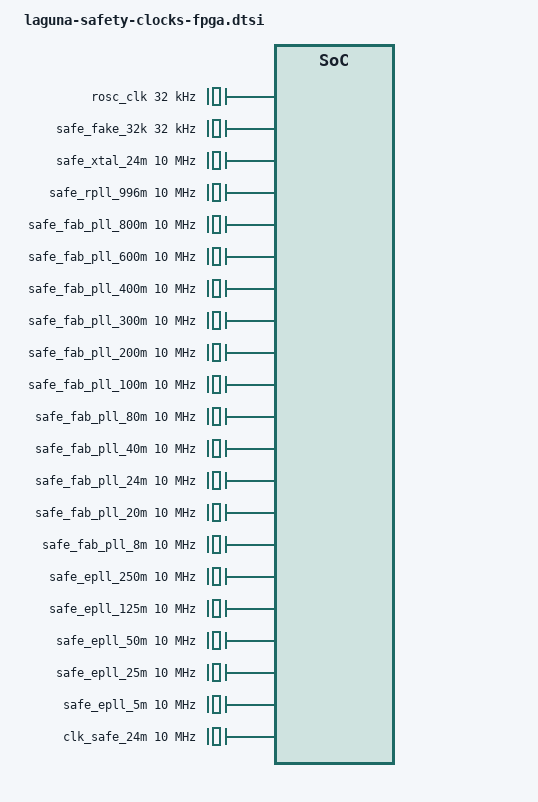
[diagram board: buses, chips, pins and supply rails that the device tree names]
/* SPDX-License-Identifier: GPL-2.0+
 *
 * Device Tree Source for Laguna safety domain FPGA clock tree
 *
 * Copyright (C) 2024 Charleye <wangkart@aliyun.com>
 */

/ {
	safety_clocks {
		compatible = "simple-bus";
		#address-cells = <2>;
		#size-cells = <2>;

		rosc_clk: rosc_clk {
			compatible = "fixed-clock";
			#clock-cells = <0>;
			clock-frequency = <32000>;
			clock-output-names = "rosc_clk";
		};

		safe_fake_32k: safe_fake_32k {
			compatible = "fixed-clock";
			#clock-cells = <0>;
			clock-frequency = <32000>;
			clock-output-names = "safe_fake_32k";
		};

		safe_xtal_24m: safe_xtal_24m {
			compatible = "fixed-clock";
			#clock-cells = <0>;
			clock-frequency = <10000000>;
			clock-output-names = "safe_xtal_24m";
		};

		safe_rpll_996m: safe_rpll_996m{
			compatible = "fixed-clock";
			#clock-cells = <0>;
			clock-frequency = <10000000>;
			clock-output-names = "safe_rpll_996m";
		};

		safe_fab_pll_800m: safe_fab_pll_800m {
			compatible = "fixed-clock";
			#clock-cells = <0>;
			clock-frequency = <10000000>;
			clock-output-names = "safe_fab_pll_800m";
		};

		safe_fab_pll_600m: safe_fab_pll_600m {
			compatible = "fixed-clock";
			#clock-cells = <0>;
			clock-frequency = <10000000>;
			clock-output-names = "safe_fab_pll_600m";
		};

		safe_fab_pll_400m: safe_fab_pll_400m {
			compatible = "fixed-clock";
			#clock-cells = <0>;
			clock-frequency = <10000000>;
			clock-output-names = "safe_fab_pll_400m";
		};

		safe_fab_pll_300m: safe_fab_pll_300m {
			compatible = "fixed-clock";
			#clock-cells = <0>;
			clock-frequency = <10000000>;
			clock-output-names = "safe_fab_pll_300m";
		};

		safe_fab_pll_200m: safe_fab_pll_200m {
			compatible = "fixed-clock";
			#clock-cells = <0>;
			clock-frequency = <10000000>;
			clock-output-names = "safe_fab_pll_200m";
		};

		safe_fab_pll_100m: safe_fab_pll_100m {
			compatible = "fixed-clock";
			#clock-cells = <0>;
			clock-frequency = <10000000>;
			clock-output-names = "safe_fab_pll_100m";
		};

		safe_fab_pll_80m: safe_fab_pll_80m {
			compatible = "fixed-clock";
			#clock-cells = <0>;
			clock-frequency = <10000000>;
			clock-output-names = "safe_fab_pll_80m";
		};

		safe_fab_pll_40m: safe_fab_pll_40m {
			compatible = "fixed-clock";
			#clock-cells = <0>;
			clock-frequency = <10000000>;
			clock-output-names = "safe_fab_pll_40m";
		};

		safe_fab_pll_24m: safe_fab_pll_24m {
			compatible = "fixed-clock";
			#clock-cells = <0>;
			clock-frequency = <10000000>;
			clock-output-names = "safe_fab_pll_24m";
		};

		safe_fab_pll_20m: safe_fab_pll_20m {
			compatible = "fixed-clock";
			#clock-cells = <0>;
			clock-frequency = <10000000>;
			clock-output-names = "safe_fab_pll_20m";
		};

		safe_fab_pll_8m: safe_fab_pll_8m {
			compatible = "fixed-clock";
			#clock-cells = <0>;
			clock-frequency = <10000000>;
			clock-output-names = "safe_fab_pll_8m";
		};

		safe_epll_250m: safe_epll_250m {
			compatible = "fixed-clock";
			#clock-cells = <0>;
			clock-frequency = <10000000>;
			clock-output-names = "safe_epll_250m";
		};

		safe_epll_125m: safe_epll_125m {
			compatible = "fixed-clock";
			#clock-cells = <0>;
			clock-frequency = <10000000>;
			clock-output-names = "safe_epll_125m";
		};

		safe_epll_50m: safe_epll_50m {
			compatible = "fixed-clock";
			#clock-cells = <0>;
			clock-frequency = <10000000>;
			clock-output-names = "safe_epll_50m";
		};

		safe_epll_25m: safe_epll_25m {
			compatible = "fixed-clock";
			#clock-cells = <0>;
			clock-frequency = <10000000>;
			clock-output-names = "safe_epll_25m";
		};

		safe_epll_5m: safe_epll_5m {
			compatible = "fixed-clock";
			#clock-cells = <0>;
			clock-frequency = <10000000>;
			clock-output-names = "safe_epll_5m";
		};

		clk_safe_emac_ptp_div2: clk_safe_emac_ptp_div2 {
			compatible = "fixed-clock";
			#clock-cells = <0>;
			clock-frequency = <10000000>;
			clock-output-names = "clk_safe_emac_ptp_div2";
		};

		clk_safe_24m: clk_safe_24m {
			compatible = "fixed-clock";
			#clock-cells = <0>;
			clock-frequency = <10000000>;
			clock-output-names = "clk_safe_24m";
		};
	};
};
